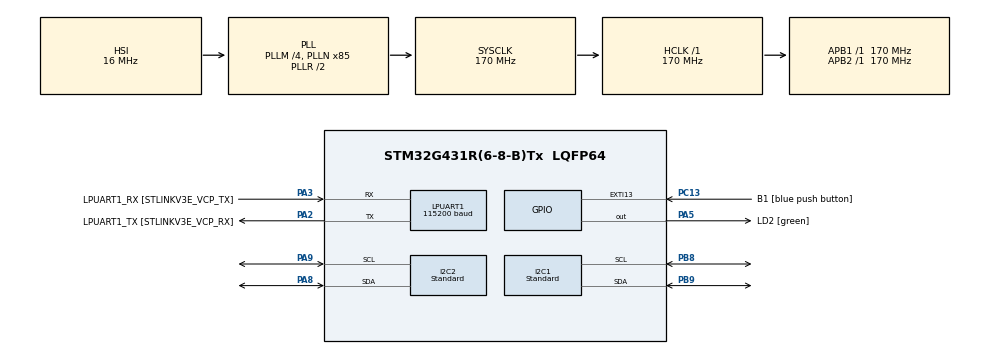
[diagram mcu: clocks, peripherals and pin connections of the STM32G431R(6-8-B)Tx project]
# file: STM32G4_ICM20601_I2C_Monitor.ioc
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I2C1.CustomTiming=Enabled
I2C1.I2C_Speed_Mode=I2C_Standard
I2C1.Timing=0x30A0A7FB
I2C2.CustomTiming=Enabled
I2C2.I2C_Speed_Mode=I2C_Standard
I2C2.Timing=0x30A0A7FB
LPUART1.BaudRate=115200
LPUART1.WordLength=UART_WORDLENGTH_8B
Mcu.Family=STM32G4
Mcu.Name=STM32G431R(6-8-B)Tx
Mcu.Package=LQFP64
NVIC.PriorityGroup=NVIC_PRIORITYGROUP_4
PA13.GPIO_Label=T_SWDIO
PA13.Mode=Serial_Wire
PA13.Signal=SYS_JTMS-SWDIO
PA14.GPIO_Label=T_SWCLK
PA14.Mode=Serial_Wire
PA14.Signal=SYS_JTCK-SWCLK
PA2.GPIO_Label=LPUART1_TX [STLINKV3E_VCP_RX]
PA2.Mode=Asynchronous
PA2.Signal=LPUART1_TX
PA3.GPIO_Label=LPUART1_RX [STLINKV3E_VCP_TX]
PA3.Mode=Asynchronous
PA3.Signal=LPUART1_RX
PA5.GPIO_Label=LD2 [green]
PA5.Signal=GPIO_Output
PA8.GPIO_Pu=GPIO_NOPULL
PA8.Mode=I2C
PA8.Signal=I2C2_SDA
PA9.GPIO_Pu=GPIO_NOPULL
PA9.Mode=I2C
PA9.Signal=I2C2_SCL
PB3.GPIO_Label=T_SWO
PB3.Signal=SYS_JTDO-SWO
PB8-BOOT0.GPIO_FM8=SYSCFG_FASTMODEPLUS_PB8
PB8-BOOT0.GPIO_Pu=GPIO_PULLUP
PB8-BOOT0.Mode=I2C
PB8-BOOT0.Signal=I2C1_SCL
PB9.GPIO_FM9=SYSCFG_FASTMODEPLUS_PB9
PB9.GPIO_Pu=GPIO_PULLUP
PB9.Mode=I2C
PB9.Signal=I2C1_SDA
PC13.GPIO_Label=B1 [blue push button]
PC13.Signal=GPXTI13
PC14-OSC32_IN.Mode=LSE-External-Oscillator
PC14-OSC32_IN.Signal=RCC_OSC32_IN
PC15-OSC32_OUT.Mode=LSE-External-Oscillator
PC15-OSC32_OUT.Signal=RCC_OSC32_OUT
PF0-OSC_IN.Mode=HSE-External-Oscillator
PF0-OSC_IN.Signal=RCC_OSC_IN
PF1-OSC_OUT.Mode=HSE-External-Oscillator
PF1-OSC_OUT.Signal=RCC_OSC_OUT
ProjectManager.HeapSize=0x200
ProjectManager.StackSize=0x400
ProjectManager.TargetToolchain=STM32CubeIDE
RCC.ADC12Freq_Value=170000000
RCC.AHBFreq_Value=170000000
RCC.APB1Freq_Value=170000000
RCC.APB1TimFreq_Value=170000000
RCC.APB2Freq_Value=170000000
RCC.APB2TimFreq_Value=170000000
RCC.CortexFreq_Value=170000000
RCC.EXTERNAL_CLOCK_VALUE=12288000
RCC.HCLKFreq_Value=170000000
RCC.HSE_VALUE=24000000
RCC.HSI48_VALUE=48000000
RCC.HSI_VALUE=16000000
RCC.PLLM=RCC_PLLM_DIV4
RCC.PLLN=85
RCC.RTCClockSelection=RCC_RTCCLKSOURCE_LSE
RCC.SYSCLKFreq_VALUE=170000000
RCC.SYSCLKSource=RCC_SYSCLKSOURCE_PLLCLK
RCC.USBFreq_Value=170000000
RCC.VCOOutputFreq_Value=340000000
VP_SYS_VS_DBSignals.Mode=DisableDeadBatterySignals
board=NUCLEO-G431RB

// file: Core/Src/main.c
/* USER CODE BEGIN Header */
/**
  ******************************************************************************
  * @file           : main.c
  * @brief          : Hem ICM-20601 hem de SH1107 OLED Birlikte Kararlı Sürüm
  ******************************************************************************
  */
/* USER CODE END Header */
#include "main.h"

/* USER CODE BEGIN Includes */
#include "icm20601.h" // Sensör kütüphanemiz
#include "SH1107.h"   // OLED kütüphanemiz
#include <stdio.h>    // sprintf için
/* USER CODE END Includes */

I2C_HandleTypeDef hi2c1;
I2C_HandleTypeDef hi2c2;

UART_HandleTypeDef hlpuart1;

/* USER CODE BEGIN PV */
ICM20601_Data_t imu_data;       // Sensörden gelen ham veriler
ICM20601_Data_t filtered_data;  // Derleyicinin aradığı, filtrelenmiş temiz veri yapısı
uint8_t init_status = 0;
char txt_buffer[32];

// Hareketli Ortalama Filtresi (Moving Average) Hafıza Dizileri

//#define FILTER_SIZE  10    // ESKI FILTER SIZE

#define FILTER_SIZE  30

int16_t ax_buffer[FILTER_SIZE] = {0};
int16_t ay_buffer[FILTER_SIZE] = {0};
int16_t az_buffer[FILTER_SIZE] = {0};

int16_t gx_buffer[FILTER_SIZE] = {0};
int16_t gy_buffer[FILTER_SIZE] = {0};
int16_t gz_buffer[FILTER_SIZE] = {0};

uint8_t filter_index = 0;
/* USER CODE END PV */

void SystemClock_Config(void);
static void MX_GPIO_Init(void);
static void MX_LPUART1_UART_Init(void);
static void MX_I2C1_Init(void);
static void MX_I2C2_Init(void);
/* USER CODE BEGIN PFP */

void Apply_Moving_Average_Filter(ICM20601_Data_t *raw, ICM20601_Data_t *filtered);

/* USER CODE END PFP */

int main(void)
{

  /* MCU Configuration--------------------------------------------------------*/

  /* Reset of all peripherals, Initializes the Flash interface and the Systick. */
  HAL_Init();

  /* Configure the system clock */
  SystemClock_Config();

  /* Initialize all configured peripherals */
  MX_GPIO_Init();
  MX_LPUART1_UART_Init();
  MX_I2C1_Init();
  MX_I2C2_Init();
  /* USER CODE BEGIN 2 */
  // 1. OLED ekranın dâhili şarj pompalarının dolması için 500ms kesinlikle şart!
  HAL_Delay(500);

  // 2. Önce OLED ekranı güvenle ilklendiriyoruz
  SH1107_Init();
  SH1107_ClearBuffer();
  SH1107_Update();

  // 3. I2C hattının kendine gelmesi ve durulması için kısa bir es
  HAL_Delay(50);

  // 4. �?imdi ICM-20601 sensörümüzü kararlı hat üzerinden uyandırıyoruz
  init_status = ICM20601_Init(&hi2c1);

  /* USER CODE END 2 */

  /* Infinite loop */
  /* USER CODE BEGIN WHILE */
    while (1)
    {
      if (init_status == 1) {
          // Sensörden ham verileri oku
          ICM20601_Read_All(&hi2c1, &imu_data);

          // Okunan ham verileri filtreye sok ve filtered_data yapısını güncelle
          Apply_Moving_Average_Filter(&imu_data, &filtered_data);
      }

      // Ekran buffer'ını dâhili RAM'de temizle
      SH1107_ClearBuffer();

      // =================================================================
      // 1. ÜST BA�?LIK VE TASARIM
      // =================================================================
      SH1107_DrawString(22, 4, "=== IMU MONITOR ===", 1);
      SH1107_DrawLine(0, 15, 128, 15, 1);

      // =================================================================
      // 2. IVMEÖLÇER (ACCELEROMETER) BÖLÜMÜ - FİLTRELİ
      // =================================================================
      SH1107_DrawString(5, 20, "ACCELEROMETER", 1);

      sprintf(txt_buffer, "X: %d", filtered_data.accel_x);
      SH1107_DrawString(15, 32, txt_buffer, 1);

      sprintf(txt_buffer, "Y: %d", filtered_data.accel_y);
      SH1107_DrawString(15, 42, txt_buffer, 1);

      sprintf(txt_buffer, "Z: %d", filtered_data.accel_z);
      SH1107_DrawString(15, 52, txt_buffer, 1);

      // Orta Kesim Ayrım Çizgisi
      SH1107_DrawLine(0, 64, 128, 64, 1);

      // =================================================================
      // 3. JİROSKOP (GYROSCOPE) BÖLÜMÜ - FİLTRELİ
      // =================================================================
      SH1107_DrawString(5, 68, "GYROSCOPE", 1);

      sprintf(txt_buffer, "X: %d", filtered_data.gyro_x);
      SH1107_DrawString(15, 80, txt_buffer, 1);

      sprintf(txt_buffer, "Y: %d", filtered_data.gyro_y);
      SH1107_DrawString(15, 90, txt_buffer, 1);

      sprintf(txt_buffer, "Z: %d", filtered_data.gyro_z);
      SH1107_DrawString(15, 100, txt_buffer, 1);

      // Alt Ayrım Çizgisi
      SH1107_DrawLine(0, 112, 128, 112, 1);

      // =================================================================
      // 4. TEMPERATURE (SICAKLIK) BÖLÜMÜ
      // =================================================================
      int32_t temp_int = (int32_t)filtered_data.temperature;
      int32_t temp_frac = (int32_t)((filtered_data.temperature - (float)temp_int) * 100.0f);
      if(temp_frac < 0) temp_frac = -temp_frac;

      sprintf(txt_buffer, "Temperature: %ld.%02ld C", temp_int, temp_frac);
      SH1107_DrawString(5, 117, txt_buffer, 1);

      // =================================================================
      // 5. EKRANI GÜNCELLE VE TETİKLE
      // =================================================================
      SH1107_Update();

      // Durum LED'ini kırpıştır ve bekle

//      HAL_GPIO_TogglePin(GPIOA, GPIO_PIN_5);
//      HAL_Delay(100);

      HAL_GPIO_TogglePin(GPIOA, GPIO_PIN_5);
          HAL_Delay(250);

    /* USER CODE END WHILE */

    }
}

void SystemClock_Config(void)
{
  RCC_OscInitTypeDef RCC_OscInitStruct = {0};
  RCC_ClkInitTypeDef RCC_ClkInitStruct = {0};

  /** Configure the main internal regulator output voltage
  */
  HAL_PWREx_ControlVoltageScaling(PWR_REGULATOR_VOLTAGE_SCALE1_BOOST);

  /** Initializes the RCC Oscillators according to the specified parameters
  * in the RCC_OscInitTypeDef structure.
  */
  RCC_OscInitStruct.OscillatorType = RCC_OSCILLATORTYPE_HSI;
  RCC_OscInitStruct.HSIState = RCC_HSI_ON;
  RCC_OscInitStruct.HSICalibrationValue = RCC_HSICALIBRATION_DEFAULT;
  RCC_OscInitStruct.PLL.PLLState = RCC_PLL_ON;
  RCC_OscInitStruct.PLL.PLLSource = RCC_PLLSOURCE_HSI;
  RCC_OscInitStruct.PLL.PLLM = RCC_PLLM_DIV4;
  RCC_OscInitStruct.PLL.PLLN = 85;
  RCC_OscInitStruct.PLL.PLLP = RCC_PLLP_DIV2;
  RCC_OscInitStruct.PLL.PLLQ = RCC_PLLQ_DIV2;
  RCC_OscInitStruct.PLL.PLLR = RCC_PLLR_DIV2;
  if (HAL_RCC_OscConfig(&RCC_OscInitStruct) != HAL_OK)
  {
    Error_Handler();
  }

  /** Initializes the CPU, AHB and APB buses clocks
  */
  RCC_ClkInitStruct.ClockType = RCC_CLOCKTYPE_HCLK|RCC_CLOCKTYPE_SYSCLK
                              |RCC_CLOCKTYPE_PCLK1|RCC_CLOCKTYPE_PCLK2;
  RCC_ClkInitStruct.SYSCLKSource = RCC_SYSCLKSOURCE_PLLCLK;
  RCC_ClkInitStruct.AHBCLKDivider = RCC_SYSCLK_DIV1;
  RCC_ClkInitStruct.APB1CLKDivider = RCC_HCLK_DIV1;
  RCC_ClkInitStruct.APB2CLKDivider = RCC_HCLK_DIV1;

  if (HAL_RCC_ClockConfig(&RCC_ClkInitStruct, FLASH_LATENCY_4) != HAL_OK)
  {
    Error_Handler();
  }
}

//static void MX_I2C1_Init(void)
//{
//
//  /* USER CODE BEGIN I2C1_Init 0 */
//
//  /* USER CODE END I2C1_Init 0 */
//
//  /* USER CODE BEGIN I2C1_Init 1 */
//
//  /* USER CODE END I2C1_Init 1 */
//  hi2c1.Instance = I2C1;
//  hi2c1.Init.Timing = 0x30A0A7FB;
//  hi2c1.Init.OwnAddress1 = 0;
//  hi2c1.Init.AddressingMode = I2C_ADDRESSINGMODE_7BIT;
//  hi2c1.Init.DualAddressMode = I2C_DUALADDRESS_DISABLE;
//  hi2c1.Init.OwnAddress2 = 0;
//  hi2c1.Init.OwnAddress2Masks = I2C_OA2_NOMASK;
//  hi2c1.Init.GeneralCallMode = I2C_GENERALCALL_DISABLE;
//  hi2c1.Init.NoStretchMode = I2C_NOSTRETCH_DISABLE;
//  if (HAL_I2C_Init(&hi2c1) != HAL_OK)
//  {
//    Error_Handler();
//  }
//
//  /** Configure Analogue filter
//  */
//  if (HAL_I2CEx_ConfigAnalogFilter(&hi2c1, I2C_ANALOGFILTER_ENABLE) != HAL_OK)
//  {
//    Error_Handler();
//  }
//
//  /** Configure Digital filter
//  */
//  if (HAL_I2CEx_ConfigDigitalFilter(&hi2c1, 0) != HAL_OK)
//  {
//    Error_Handler();
//  }
//  /* USER CODE BEGIN I2C1_Init 2 */
//
//  /* USER CODE END I2C1_Init 2 */
//
//}

static void MX_I2C1_Init(void)
{

  hi2c1.Instance = I2C1;
  hi2c1.Init.Timing = 0x30A0A7FB;
  hi2c1.Init.OwnAddress1 = 0;
  hi2c1.Init.AddressingMode = I2C_ADDRESSINGMODE_7BIT;
  hi2c1.Init.DualAddressMode = I2C_DUALADDRESS_DISABLE;
  hi2c1.Init.OwnAddress2 = 0;
  hi2c1.Init.OwnAddress2Masks = I2C_OA2_NOMASK;
  hi2c1.Init.GeneralCallMode = I2C_GENERALCALL_DISABLE;
  hi2c1.Init.NoStretchMode = I2C_NOSTRETCH_DISABLE;

  /* USER CODE BEGIN I2C1_Init 2 */
  // 100 kHz Standard Mode için tam %50 Duty Cycle zamanlama sabiti
  hi2c1.Init.Timing = 0x30A09393;
  /* USER CODE END I2C1_Init 2 */

  if (HAL_I2C_Init(&hi2c1) != HAL_OK)
  {
    Error_Handler();
  }

  /** Configure Analogue filter
  */
  if (HAL_I2CEx_ConfigAnalogFilter(&hi2c1, I2C_ANALOGFILTER_ENABLE) != HAL_OK)
  {
    Error_Handler();
  }

  /** Configure Digital filter
  */
  if (HAL_I2CEx_ConfigDigitalFilter(&hi2c1, 0) != HAL_OK)
  {
    Error_Handler();
  }

}

//static void MX_I2C2_Init(void)
//{
//
//  /* USER CODE BEGIN I2C2_Init 0 */
//
//  /* USER CODE END I2C2_Init 0 */
//
//  /* USER CODE BEGIN I2C2_Init 1 */
//
//  /* USER CODE END I2C2_Init 1 */
//  hi2c2.Instance = I2C2;
//  hi2c2.Init.Timing = 0x30A0A7FB;
//  hi2c2.Init.OwnAddress1 = 0;
//  hi2c2.Init.AddressingMode = I2C_ADDRESSINGMODE_7BIT;
//  hi2c2.Init.DualAddressMode = I2C_DUALADDRESS_DISABLE;
//  hi2c2.Init.OwnAddress2 = 0;
//  hi2c2.Init.OwnAddress2Masks = I2C_OA2_NOMASK;
//  hi2c2.Init.GeneralCallMode = I2C_GENERALCALL_DISABLE;
//  hi2c2.Init.NoStretchMode = I2C_NOSTRETCH_DISABLE;
//  if (HAL_I2C_Init(&hi2c2) != HAL_OK)
//  {
//    Error_Handler();
//  }
//
//  /** Configure Analogue filter
//  */
//  if (HAL_I2CEx_ConfigAnalogFilter(&hi2c2, I2C_ANALOGFILTER_ENABLE) != HAL_OK)
//  {
//    Error_Handler();
//  }
//
//  /** Configure Digital filter
//  */
//  if (HAL_I2CEx_ConfigDigitalFilter(&hi2c2, 0) != HAL_OK)
//  {
//    Error_Handler();
//  }
//  /* USER CODE BEGIN I2C2_Init 2 */
//
//  /* USER CODE END I2C2_Init 2 */
//
//}

static void MX_I2C2_Init(void)
{

  hi2c2.Instance = I2C2;
  hi2c2.Init.Timing = 0x30A0A7FB;
  hi2c2.Init.OwnAddress1 = 0;
  hi2c2.Init.AddressingMode = I2C_ADDRESSINGMODE_7BIT;
  hi2c2.Init.DualAddressMode = I2C_DUALADDRESS_DISABLE;
  hi2c2.Init.OwnAddress2 = 0;
  hi2c2.Init.OwnAddress2Masks = I2C_OA2_NOMASK;
  hi2c2.Init.GeneralCallMode = I2C_GENERALCALL_DISABLE;
  hi2c2.Init.NoStretchMode = I2C_NOSTRETCH_DISABLE;

  /* USER CODE BEGIN I2C2_Init 2 */
  // İkinci hat için de tam %50 Duty Cycle zamanlama sabiti
  hi2c2.Init.Timing = 0x30A09393;
  /* USER CODE END I2C2_Init 2 */

  if (HAL_I2C_Init(&hi2c2) != HAL_OK)
  {
    Error_Handler();
  }

  /** Configure Analogue filter
  */
  if (HAL_I2CEx_ConfigAnalogFilter(&hi2c2, I2C_ANALOGFILTER_ENABLE) != HAL_OK)
  {
    Error_Handler();
  }

  /** Configure Digital filter
  */
  if (HAL_I2CEx_ConfigDigitalFilter(&hi2c2, 0) != HAL_OK)
  {
    Error_Handler();
  }

}

static void MX_LPUART1_UART_Init(void)
{

  hlpuart1.Instance = LPUART1;
  hlpuart1.Init.BaudRate = 115200;
  hlpuart1.Init.WordLength = UART_WORDLENGTH_8B;
  hlpuart1.Init.StopBits = UART_STOPBITS_1;
  hlpuart1.Init.Parity = UART_PARITY_NONE;
  hlpuart1.Init.Mode = UART_MODE_TX_RX;
  hlpuart1.Init.HwFlowCtl = UART_HWCONTROL_NONE;
  hlpuart1.Init.OneBitSampling = UART_ONE_BIT_SAMPLE_DISABLE;
  hlpuart1.Init.ClockPrescaler = UART_PRESCALER_DIV1;
  hlpuart1.AdvancedInit.AdvFeatureInit = UART_ADVFEATURE_NO_INIT;
  if (HAL_UART_Init(&hlpuart1) != HAL_OK)
  {
    Error_Handler();
  }
  if (HAL_UARTEx_SetTxFifoThreshold(&hlpuart1, UART_TXFIFO_THRESHOLD_1_8) != HAL_OK)
  {
    Error_Handler();
  }
  if (HAL_UARTEx_SetRxFifoThreshold(&hlpuart1, UART_RXFIFO_THRESHOLD_1_8) != HAL_OK)
  {
    Error_Handler();
  }
  if (HAL_UARTEx_DisableFifoMode(&hlpuart1) != HAL_OK)
  {
    Error_Handler();
  }

}

static void MX_GPIO_Init(void)
{
  GPIO_InitTypeDef GPIO_InitStruct = {0};

  /* GPIO Ports Clock Enable */
  __HAL_RCC_GPIOC_CLK_ENABLE();
  __HAL_RCC_GPIOF_CLK_ENABLE();
  __HAL_RCC_GPIOA_CLK_ENABLE();
  __HAL_RCC_GPIOB_CLK_ENABLE();

  /*Configure GPIO pin Output Level */
  HAL_GPIO_WritePin(LD2_GPIO_Port, LD2_Pin, GPIO_PIN_RESET);

  /*Configure GPIO pin : B1_Pin */
  GPIO_InitStruct.Pin = B1_Pin;
  GPIO_InitStruct.Mode = GPIO_MODE_IT_RISING;
  GPIO_InitStruct.Pull = GPIO_NOPULL;
  HAL_GPIO_Init(B1_GPIO_Port, &GPIO_InitStruct);

  /*Configure GPIO pin : LD2_Pin */
  GPIO_InitStruct.Pin = LD2_Pin;
  GPIO_InitStruct.Mode = GPIO_MODE_OUTPUT_PP;
  GPIO_InitStruct.Pull = GPIO_NOPULL;
  GPIO_InitStruct.Speed = GPIO_SPEED_FREQ_LOW;
  HAL_GPIO_Init(LD2_GPIO_Port, &GPIO_InitStruct);

}

/* USER CODE BEGIN 4 */
void Apply_Moving_Average_Filter(ICM20601_Data_t *raw, ICM20601_Data_t *filtered) {
    // 1. Yeni ham verileri tampon dizilere yerleştir
    ax_buffer[filter_index] = raw->accel_x;
    ay_buffer[filter_index] = raw->accel_y;
    az_buffer[filter_index] = raw->accel_z;

    gx_buffer[filter_index] = raw->gyro_x;
    gy_buffer[filter_index] = raw->gyro_y;
    gz_buffer[filter_index] = raw->gyro_z;

    // İndeksi ilerlet, dizi sınırına gelince başa dön
    filter_index++;
    if (filter_index >= FILTER_SIZE) {
        filter_index = 0;
    }

    // 2. Sum the configured moving-average window
    int32_t sum_ax = 0, sum_ay = 0, sum_az = 0;
    int32_t sum_gx = 0, sum_gy = 0, sum_gz = 0;

    for (uint8_t i = 0; i < FILTER_SIZE; i++) {
        sum_ax += ax_buffer[i];
        sum_ay += ay_buffer[i];
        sum_az += az_buffer[i];

        sum_gx += gx_buffer[i];
        sum_gy += gy_buffer[i];
        sum_gz += gz_buffer[i];
    }

    // 3. Ortalama değerleri filtrelenmiş struct'a yaz
    filtered->accel_x = (int16_t)(sum_ax / FILTER_SIZE);
    filtered->accel_y = (int16_t)(sum_ay / FILTER_SIZE);
    filtered->accel_z = (int16_t)(sum_az / FILTER_SIZE);

    filtered->gyro_x  = (int16_t)(sum_gx / FILTER_SIZE);
    filtered->gyro_y  = (int16_t)(sum_gy / FILTER_SIZE);
    filtered->gyro_z  = (int16_t)(sum_gz / FILTER_SIZE);

    // Sıcaklık doğrudan aktarılıyor
    filtered->temperature = raw->temperature;
}
/* USER CODE END 4 */

void Error_Handler(void)
{
  __disable_irq();
  while (1)
  {
  }
}
